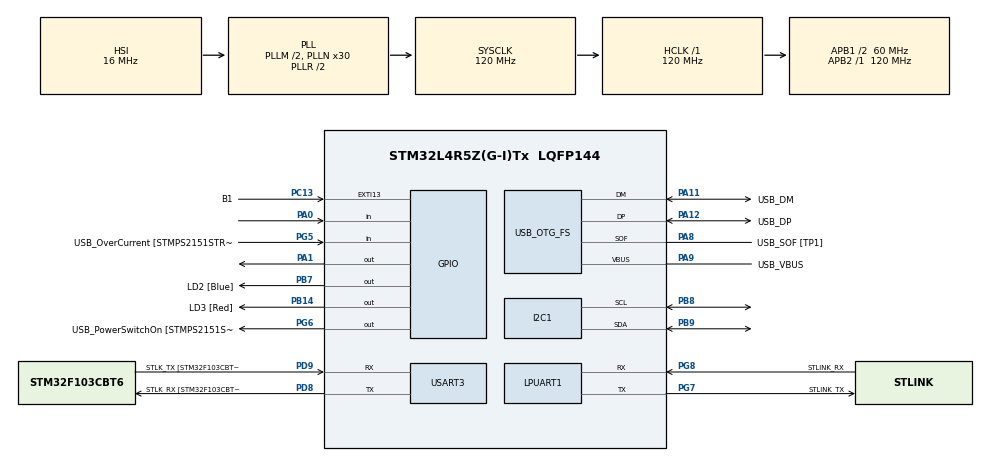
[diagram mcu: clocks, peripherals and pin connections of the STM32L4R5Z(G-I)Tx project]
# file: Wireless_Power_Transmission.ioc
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I2C1.Timing=0x10A077A8
Mcu.Family=STM32L4
Mcu.Name=STM32L4R5Z(G-I)Tx
Mcu.Package=LQFP144
NVIC.PriorityGroup=NVIC_PRIORITYGROUP_4
PA0.Signal=GPIO_Input
PA1.Signal=GPIO_Output
PA10.GPIO_Label=USB_ID
PA10.Signal=USB_OTG_FS_ID
PA11.GPIO_Label=USB_DM
PA11.Mode=Device_Only
PA11.Signal=USB_OTG_FS_DM
PA12.GPIO_Label=USB_DP
PA12.Mode=Device_Only
PA12.Signal=USB_OTG_FS_DP
PA13\ (JTMS/SWDIO).GPIO_Label=TMS
PA13\ (JTMS/SWDIO).Mode=Trace_Asynchronous_SW
PA13\ (JTMS/SWDIO).Signal=SYS_JTMS-SWDIO
PA14\ (JTCK/SWCLK).GPIO_Label=TCK
PA14\ (JTCK/SWCLK).Mode=Trace_Asynchronous_SW
PA14\ (JTCK/SWCLK).Signal=SYS_JTCK-SWCLK
PA8.GPIO_Label=USB_SOF [TP1]
PA8.Mode=Activate_SOF_FS
PA8.Signal=USB_OTG_FS_SOF
PA9.GPIO_Label=USB_VBUS
PA9.Mode=Activate_VBUS
PA9.Signal=USB_OTG_FS_VBUS
PB14.GPIO_Label=LD3 [Red]
PB14.Signal=GPIO_Output
PB3\ (JTDO/TRACESWO).GPIO_Label=SWO
PB3\ (JTDO/TRACESWO).Mode=Trace_Asynchronous_SW
PB3\ (JTDO/TRACESWO).Signal=SYS_JTDO-SWO
PB7.GPIO_Label=LD2 [Blue]
PB7.Signal=GPIO_Output
PB8.Mode=I2C
PB8.Signal=I2C1_SCL
PB9.Mode=I2C
PB9.Signal=I2C1_SDA
PC13.GPIO_Label=B1
PC13.Signal=GPXTI13
PC14-OSC32_IN\ (PC14).Mode=LSE-External-Oscillator
PC14-OSC32_IN\ (PC14).Signal=RCC_OSC32_IN
PC15-OSC32_OUT\ (PC15).Mode=LSE-External-Oscillator
PC15-OSC32_OUT\ (PC15).Signal=RCC_OSC32_OUT
PD8.GPIO_Label=STLK_RX [STM32F103CBT6_PA3]
PD8.Mode=Asynchronous
PD8.Signal=USART3_TX
PD9.GPIO_Label=STLK_TX [STM32F103CBT6_PA2]
PD9.Mode=Asynchronous
PD9.Signal=USART3_RX
PG5.GPIO_Label=USB_OverCurrent [STMPS2151STR_FAULT]
PG5.Signal=GPIO_Input
PG6.GPIO_Label=USB_PowerSwitchOn [STMPS2151STR_EN]
PG6.Signal=GPIO_Output
PG7.GPIO_Label=STLINK_TX
PG7.Mode=Asynchronous
PG7.Signal=LPUART1_TX
PG8.GPIO_Label=STLINK_RX
PG8.Mode=Asynchronous
PG8.Signal=LPUART1_RX
PH0-OSC_IN\ (PH0).Signal=RCC_OSC_IN
PH1-OSC_OUT\ (PH1).Signal=RCC_OSC_OUT
ProjectManager.HeapSize=0x200
ProjectManager.StackSize=0x400
ProjectManager.TargetToolchain=STM32CubeIDE
RCC.48MHZClocksFreq_Value=24000000
RCC.ADCFreq_Value=96000000
RCC.AHBFreq_Value=120000000
RCC.APB1CLKDivider=RCC_HCLK_DIV2
RCC.APB1Freq_Value=60000000
RCC.APB1TimFreq_Value=120000000
RCC.APB2Freq_Value=120000000
RCC.APB2TimFreq_Value=120000000
RCC.CK48CLockSelection=RCC_USBCLKSOURCE_HSI48
RCC.CortexFreq_Value=120000000
RCC.HCLKFreq_Value=120000000
RCC.HSE_VALUE=8000000
RCC.HSI48_VALUE=48000000
RCC.HSI_VALUE=16000000
RCC.MSI_VALUE=4000000
RCC.PLLM1=2
RCC.PLLMUL=RCC_PLL_MUL9
RCC.PLLN=30
RCC.PLLSAI1N=12
RCC.PLLSourceVirtual=RCC_PLLSOURCE_HSI
RCC.PRESCALERUSB=RCC_USBCLKSOURCE_PLL_DIV1_5
RCC.SYSCLKFreq_VALUE=120000000
RCC.SYSCLKSource=RCC_SYSCLKSOURCE_PLLCLK
RCC.SYSCLKSourceVirtual=RCC_SYSCLKSOURCE_PLLCLK
RCC.USBFreq_Value=48000000
RCC.VCOOutputFreq_Value=240000000
USART3.VirtualMode-Asynchronous=VM_ASYNC
USB_OTG_FS.VirtualMode=Device_Only
board=NUCLEO-L4R5ZI

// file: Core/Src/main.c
/* USER CODE BEGIN Header */
/**
  ******************************************************************************
  * @file           : main.c
  * @brief          : Main program body
  ******************************************************************************
  * @attention
  *
  * Copyright (c) 2025 STMicroelectronics.
  * All rights reserved.
  *
  * This software is licensed under terms that can be found in the LICENSE file
  * in the root directory of this software component.
  * If no LICENSE file comes with this software, it is provided AS-IS.
  *
  ******************************************************************************
  */
/* USER CODE END Header */
#include "main.h"

/* USER CODE BEGIN Includes */
#include "lcd16x2_i2c.h"
#include <stdio.h>

/* USER CODE END Includes */

/* USER CODE BEGIN PD */
#define IR_SENSOR_PIN    GPIO_PIN_0  // IR sensor on PA0
#define RELAY_PIN        GPIO_PIN_1  // Relay control on PA1
#define IR_SENSOR_PORT   GPIOA
#define RELAY_PORT       GPIOA

uint32_t bill = 0;
uint8_t vehiclePresent = 0;
/* USER CODE END PD */

I2C_HandleTypeDef hi2c1;

UART_HandleTypeDef hlpuart1;
UART_HandleTypeDef huart3;

PCD_HandleTypeDef hpcd_USB_OTG_FS;

void SystemClock_Config(void);
static void MX_GPIO_Init(void);
static void MX_LPUART1_UART_Init(void);
static void MX_USART3_UART_Init(void);
static void MX_USB_OTG_FS_PCD_Init(void);
static void MX_I2C1_Init(void);

/* USER CODE BEGIN 0 */
void SystemClock_Config(void);
void GPIO_Init(void);
void delay_ms(uint32_t ms);
/* USER CODE END 0 */

int main(void)
{

  /* MCU Configuration--------------------------------------------------------*/

  /* Reset of all peripherals, Initializes the Flash interface and the Systick. */
  HAL_Init();

  /* Configure the system clock */
  SystemClock_Config();

  /* Initialize all configured peripherals */
  MX_GPIO_Init();
  MX_LPUART1_UART_Init();
  MX_USART3_UART_Init();
  MX_USB_OTG_FS_PCD_Init();
  MX_I2C1_Init();
  /* USER CODE BEGIN 2 */
  lcd16x2_i2c_init(&hi2c1);
  lcd16x2_i2c_clear();
  lcd16x2_i2c_1stLine();
  lcd16x2_i2c_printf("Wireless EV");

  HAL_Delay(1500);
  lcd16x2_i2c_clear();

  /* USER CODE END 2 */

  /* Infinite loop */
  /* USER CODE BEGIN WHILE */
  while (1)
  {
	  GPIO_PinState irState = HAL_GPIO_ReadPin(IR_SENSOR_PORT, IR_SENSOR_PIN);

	      if (irState == GPIO_PIN_RESET) // Object detected
	      {
	          if (!vehiclePresent) {
	              // Vehicle just arrived
	              vehiclePresent = 1;
	              bill = 0;
	              lcd16x2_i2c_clear();
	              lcd16x2_i2c_1stLine();
	              lcd16x2_i2c_printf("Vehicle: Present");
	          }

	          // Update relay
	          HAL_GPIO_WritePin(RELAY_PORT, RELAY_PIN, GPIO_PIN_SET);

	          // Show bill on 2nd line
	          char billStr[16];
	          snprintf(billStr, sizeof(billStr), "Bill: Rs.%lu", bill);
	          lcd16x2_i2c_2ndLine();
	          lcd16x2_i2c_printf(billStr);

	          // Increment bill
	          bill += 10;
	      }
	      else // No vehicle
	      {
	          if (vehiclePresent) {
	              // Vehicle just left
	              vehiclePresent = 0;
	              HAL_GPIO_WritePin(RELAY_PORT, RELAY_PIN, GPIO_PIN_RESET);
	              lcd16x2_i2c_clear();
	              lcd16x2_i2c_1stLine();
	              lcd16x2_i2c_printf("Vehicle: Absent");
	              lcd16x2_i2c_2ndLine();
	              lcd16x2_i2c_printf("Charging: OFF");
	          }
	      }

	      HAL_Delay(1000); // Delay 1s per billing cycle
  }
}

void SystemClock_Config(void)
{
  RCC_OscInitTypeDef RCC_OscInitStruct = {0};
  RCC_ClkInitTypeDef RCC_ClkInitStruct = {0};

  /** Configure the main internal regulator output voltage
  */
  if (HAL_PWREx_ControlVoltageScaling(PWR_REGULATOR_VOLTAGE_SCALE1_BOOST) != HAL_OK)
  {
    Error_Handler();
  }

  /** Initializes the RCC Oscillators according to the specified parameters
  * in the RCC_OscInitTypeDef structure.
  */
  RCC_OscInitStruct.OscillatorType = RCC_OSCILLATORTYPE_HSI48|RCC_OSCILLATORTYPE_HSI;
  RCC_OscInitStruct.HSIState = RCC_HSI_ON;
  RCC_OscInitStruct.HSI48State = RCC_HSI48_ON;
  RCC_OscInitStruct.HSICalibrationValue = RCC_HSICALIBRATION_DEFAULT;
  RCC_OscInitStruct.PLL.PLLState = RCC_PLL_ON;
  RCC_OscInitStruct.PLL.PLLSource = RCC_PLLSOURCE_HSI;
  RCC_OscInitStruct.PLL.PLLM = 2;
  RCC_OscInitStruct.PLL.PLLN = 30;
  RCC_OscInitStruct.PLL.PLLP = RCC_PLLP_DIV2;
  RCC_OscInitStruct.PLL.PLLQ = RCC_PLLQ_DIV2;
  RCC_OscInitStruct.PLL.PLLR = RCC_PLLR_DIV2;
  if (HAL_RCC_OscConfig(&RCC_OscInitStruct) != HAL_OK)
  {
    Error_Handler();
  }

  /** Initializes the CPU, AHB and APB buses clocks
  */
  RCC_ClkInitStruct.ClockType = RCC_CLOCKTYPE_HCLK|RCC_CLOCKTYPE_SYSCLK
                              |RCC_CLOCKTYPE_PCLK1|RCC_CLOCKTYPE_PCLK2;
  RCC_ClkInitStruct.SYSCLKSource = RCC_SYSCLKSOURCE_PLLCLK;
  RCC_ClkInitStruct.AHBCLKDivider = RCC_SYSCLK_DIV1;
  RCC_ClkInitStruct.APB1CLKDivider = RCC_HCLK_DIV2;
  RCC_ClkInitStruct.APB2CLKDivider = RCC_HCLK_DIV1;

  if (HAL_RCC_ClockConfig(&RCC_ClkInitStruct, FLASH_LATENCY_5) != HAL_OK)
  {
    Error_Handler();
  }
}

static void MX_I2C1_Init(void)
{

  hi2c1.Instance = I2C1;
  hi2c1.Init.Timing = 0x10A077A8;
  hi2c1.Init.OwnAddress1 = 0;
  hi2c1.Init.AddressingMode = I2C_ADDRESSINGMODE_7BIT;
  hi2c1.Init.DualAddressMode = I2C_DUALADDRESS_DISABLE;
  hi2c1.Init.OwnAddress2 = 0;
  hi2c1.Init.OwnAddress2Masks = I2C_OA2_NOMASK;
  hi2c1.Init.GeneralCallMode = I2C_GENERALCALL_DISABLE;
  hi2c1.Init.NoStretchMode = I2C_NOSTRETCH_DISABLE;
  if (HAL_I2C_Init(&hi2c1) != HAL_OK)
  {
    Error_Handler();
  }

  /** Configure Analogue filter
  */
  if (HAL_I2CEx_ConfigAnalogFilter(&hi2c1, I2C_ANALOGFILTER_ENABLE) != HAL_OK)
  {
    Error_Handler();
  }

  /** Configure Digital filter
  */
  if (HAL_I2CEx_ConfigDigitalFilter(&hi2c1, 0) != HAL_OK)
  {
    Error_Handler();
  }

}

static void MX_LPUART1_UART_Init(void)
{

  hlpuart1.Instance = LPUART1;
  hlpuart1.Init.BaudRate = 209700;
  hlpuart1.Init.WordLength = UART_WORDLENGTH_7B;
  hlpuart1.Init.StopBits = UART_STOPBITS_1;
  hlpuart1.Init.Parity = UART_PARITY_NONE;
  hlpuart1.Init.Mode = UART_MODE_TX_RX;
  hlpuart1.Init.HwFlowCtl = UART_HWCONTROL_NONE;
  hlpuart1.Init.OneBitSampling = UART_ONE_BIT_SAMPLE_DISABLE;
  hlpuart1.Init.ClockPrescaler = UART_PRESCALER_DIV1;
  hlpuart1.AdvancedInit.AdvFeatureInit = UART_ADVFEATURE_NO_INIT;
  hlpuart1.FifoMode = UART_FIFOMODE_DISABLE;
  if (HAL_UART_Init(&hlpuart1) != HAL_OK)
  {
    Error_Handler();
  }
  if (HAL_UARTEx_SetTxFifoThreshold(&hlpuart1, UART_TXFIFO_THRESHOLD_1_8) != HAL_OK)
  {
    Error_Handler();
  }
  if (HAL_UARTEx_SetRxFifoThreshold(&hlpuart1, UART_RXFIFO_THRESHOLD_1_8) != HAL_OK)
  {
    Error_Handler();
  }
  if (HAL_UARTEx_DisableFifoMode(&hlpuart1) != HAL_OK)
  {
    Error_Handler();
  }

}

static void MX_USART3_UART_Init(void)
{

  huart3.Instance = USART3;
  huart3.Init.BaudRate = 115200;
  huart3.Init.WordLength = UART_WORDLENGTH_8B;
  huart3.Init.StopBits = UART_STOPBITS_1;
  huart3.Init.Parity = UART_PARITY_NONE;
  huart3.Init.Mode = UART_MODE_TX_RX;
  huart3.Init.HwFlowCtl = UART_HWCONTROL_NONE;
  huart3.Init.OverSampling = UART_OVERSAMPLING_16;
  huart3.Init.OneBitSampling = UART_ONE_BIT_SAMPLE_DISABLE;
  huart3.Init.ClockPrescaler = UART_PRESCALER_DIV1;
  huart3.AdvancedInit.AdvFeatureInit = UART_ADVFEATURE_NO_INIT;
  if (HAL_UART_Init(&huart3) != HAL_OK)
  {
    Error_Handler();
  }
  if (HAL_UARTEx_SetTxFifoThreshold(&huart3, UART_TXFIFO_THRESHOLD_1_8) != HAL_OK)
  {
    Error_Handler();
  }
  if (HAL_UARTEx_SetRxFifoThreshold(&huart3, UART_RXFIFO_THRESHOLD_1_8) != HAL_OK)
  {
    Error_Handler();
  }
  if (HAL_UARTEx_DisableFifoMode(&huart3) != HAL_OK)
  {
    Error_Handler();
  }

}

static void MX_USB_OTG_FS_PCD_Init(void)
{

  hpcd_USB_OTG_FS.Instance = USB_OTG_FS;
  hpcd_USB_OTG_FS.Init.dev_endpoints = 6;
  hpcd_USB_OTG_FS.Init.speed = PCD_SPEED_FULL;
  hpcd_USB_OTG_FS.Init.phy_itface = PCD_PHY_EMBEDDED;
  hpcd_USB_OTG_FS.Init.Sof_enable = ENABLE;
  hpcd_USB_OTG_FS.Init.low_power_enable = DISABLE;
  hpcd_USB_OTG_FS.Init.lpm_enable = DISABLE;
  hpcd_USB_OTG_FS.Init.battery_charging_enable = ENABLE;
  hpcd_USB_OTG_FS.Init.use_dedicated_ep1 = DISABLE;
  hpcd_USB_OTG_FS.Init.vbus_sensing_enable = ENABLE;
  if (HAL_PCD_Init(&hpcd_USB_OTG_FS) != HAL_OK)
  {
    Error_Handler();
  }

}

static void MX_GPIO_Init(void)
{
  GPIO_InitTypeDef GPIO_InitStruct = {0};

  /* GPIO Ports Clock Enable */
  __HAL_RCC_GPIOC_CLK_ENABLE();
  __HAL_RCC_GPIOH_CLK_ENABLE();
  __HAL_RCC_GPIOA_CLK_ENABLE();
  __HAL_RCC_GPIOB_CLK_ENABLE();
  __HAL_RCC_GPIOD_CLK_ENABLE();
  __HAL_RCC_GPIOG_CLK_ENABLE();
  HAL_PWREx_EnableVddIO2();

  /*Configure GPIO pin Output Level */
  HAL_GPIO_WritePin(GPIOA, GPIO_PIN_1, GPIO_PIN_RESET);

  /*Configure GPIO pin Output Level */
  HAL_GPIO_WritePin(GPIOB, LD3_Pin|LD2_Pin, GPIO_PIN_RESET);

  /*Configure GPIO pin Output Level */
  HAL_GPIO_WritePin(USB_PowerSwitchOn_GPIO_Port, USB_PowerSwitchOn_Pin, GPIO_PIN_RESET);

  /*Configure GPIO pin : B1_Pin */
  GPIO_InitStruct.Pin = B1_Pin;
  GPIO_InitStruct.Mode = GPIO_MODE_IT_RISING;
  GPIO_InitStruct.Pull = GPIO_NOPULL;
  HAL_GPIO_Init(B1_GPIO_Port, &GPIO_InitStruct);

  /*Configure GPIO pin : PA0 */
  GPIO_InitStruct.Pin = GPIO_PIN_0;
  GPIO_InitStruct.Mode = GPIO_MODE_INPUT;
  GPIO_InitStruct.Pull = GPIO_NOPULL;
  HAL_GPIO_Init(GPIOA, &GPIO_InitStruct);

  /*Configure GPIO pin : PA1 */
  GPIO_InitStruct.Pin = GPIO_PIN_1;
  GPIO_InitStruct.Mode = GPIO_MODE_OUTPUT_PP;
  GPIO_InitStruct.Pull = GPIO_NOPULL;
  GPIO_InitStruct.Speed = GPIO_SPEED_FREQ_LOW;
  HAL_GPIO_Init(GPIOA, &GPIO_InitStruct);

  /*Configure GPIO pins : LD3_Pin LD2_Pin */
  GPIO_InitStruct.Pin = LD3_Pin|LD2_Pin;
  GPIO_InitStruct.Mode = GPIO_MODE_OUTPUT_PP;
  GPIO_InitStruct.Pull = GPIO_NOPULL;
  GPIO_InitStruct.Speed = GPIO_SPEED_FREQ_LOW;
  HAL_GPIO_Init(GPIOB, &GPIO_InitStruct);

  /*Configure GPIO pin : USB_OverCurrent_Pin */
  GPIO_InitStruct.Pin = USB_OverCurrent_Pin;
  GPIO_InitStruct.Mode = GPIO_MODE_INPUT;
  GPIO_InitStruct.Pull = GPIO_NOPULL;
  HAL_GPIO_Init(USB_OverCurrent_GPIO_Port, &GPIO_InitStruct);

  /*Configure GPIO pin : USB_PowerSwitchOn_Pin */
  GPIO_InitStruct.Pin = USB_PowerSwitchOn_Pin;
  GPIO_InitStruct.Mode = GPIO_MODE_OUTPUT_PP;
  GPIO_InitStruct.Pull = GPIO_NOPULL;
  GPIO_InitStruct.Speed = GPIO_SPEED_FREQ_LOW;
  HAL_GPIO_Init(USB_PowerSwitchOn_GPIO_Port, &GPIO_InitStruct);

}

void Error_Handler(void)
{
  __disable_irq();
  while (1)
  {
  }
}
